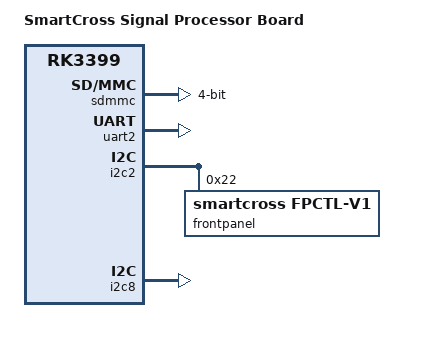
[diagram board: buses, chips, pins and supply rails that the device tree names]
// SPDX-License-Identifier: (GPL-2.0+ OR MIT)
/*
 * Copyright (c) 2016 Fuzhou Rockchip Electronics Co., Ltd
 */

/dts-v1/;
#include <dt-bindings/usb/pd.h>
#include <dt-bindings/pwm/pwm.h>
#include "rk3399-smartcross-tiny.dtsi"

/ {
	model = "SmartCross Signal Processor Board";
	compatible = "smartcross,signal-processor", "rockchip,rk3399";

	aliases {
		mmc1 = &sdmmc;
	};
};

&sdmmc {
	bus-width = <4>;
	cap-sd-highspeed;
	cap-mmc-highspeed;
	disable-wp;
	disable-cd;
	status = "okay";
};

&uart2 {
	status = "okay";
};

&i2c2 {
	status = "okay";

	frontpanel: fpctl@22 {
		reg = <0x22>;
		compatible = "smartcross,fpctl-v1";
	};
};

&i2c8 {
	status = "okay";
};
